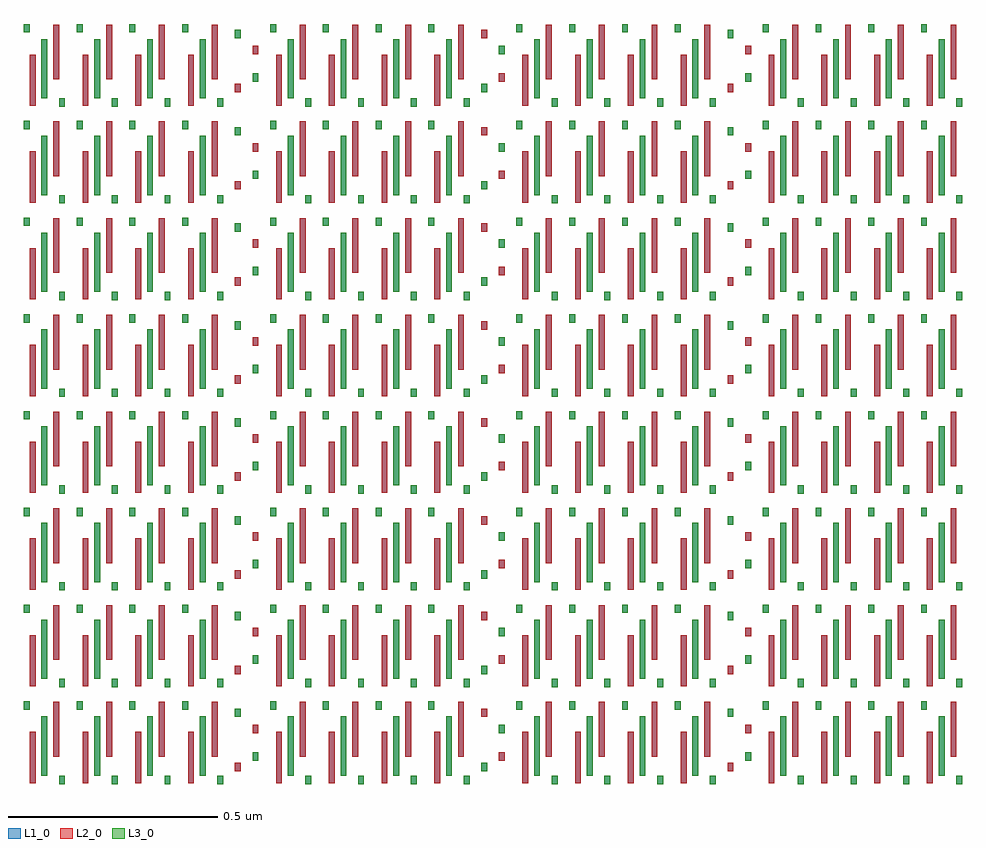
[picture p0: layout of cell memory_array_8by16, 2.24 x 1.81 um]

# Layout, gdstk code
import gdstk
lib = gdstk.Library(unit=1e-6, precision=5e-10)
def R(c, l, rs):  # rectangles x0, y0, x1, y1
    for r in rs: c.add(gdstk.rectangle(r[:2], r[2:], *l))
def A(c, l, x, y, w, h, nx, ny, dx, dy):  # array of equal rectangles
    R(c, l, [(x+i*dx, y+j*dy, x+i*dx+w, y+j*dy+h) for i in range(nx) for j in range(ny)])
L1_0 = (1, 0)
L2_0 = (2, 0)
L3_0 = (3, 0)

sram_6t = lib.new_cell('sram_6t')
R(sram_6t, L1_0, [(0.1055,0.0325,0.1195,0.0525), (0.0355,0.0345,0.0495,0.157), (0.0635,0.0525,0.0775,0.194), (0.092,0.098,0.106,0.2285), (0.0215,0.21,0.0355,0.23)])
R(sram_6t, L2_0, [(0.0355,0.0345,0.0495,0.157), (0.092,0.098,0.106,0.2285)])
R(sram_6t, L3_0, [(0.1055,0.0325,0.1195,0.0525), (0.0635,0.0525,0.0775,0.194), (0.0215,0.21,0.0355,0.23)])

memory_array_8by16 = lib.new_cell('memory_array_8by16')
A(memory_array_8by16, L1_0, 0.5535, 0.068, 0.014, 0.02, 3, 2, 0.588, 0.129)
A(memory_array_8by16, L1_0, 0.5955, 0.093, 0.014, 0.02, 3, 2, 0.588, 0.0655)
A(memory_array_8by16, L1_0, 0.5535, 0.299, 0.014, 0.02, 3, 2, 0.588, 0.129)
A(memory_array_8by16, L1_0, 0.5955, 0.324, 0.014, 0.02, 3, 2, 0.588, 0.0655)
A(memory_array_8by16, L1_0, 0.5535, 0.527, 0.014, 0.02, 3, 2, 0.588, 0.129)
A(memory_array_8by16, L1_0, 0.5955, 0.552, 0.014, 0.02, 3, 2, 0.588, 0.0655)
A(memory_array_8by16, L1_0, 0.5535, 0.7615, 0.014, 0.02, 3, 2, 0.588, 0.129)
A(memory_array_8by16, L1_0, 0.5955, 0.7865, 0.014, 0.02, 3, 2, 0.588, 0.0655)
A(memory_array_8by16, L1_0, 0.5535, 0.993, 0.014, 0.02, 3, 2, 0.588, 0.129)
A(memory_array_8by16, L1_0, 0.5955, 1.018, 0.014, 0.02, 3, 2, 0.588, 0.0655)
A(memory_array_8by16, L1_0, 0.5535, 1.2265, 0.014, 0.02, 3, 2, 0.588, 0.129)
A(memory_array_8by16, L1_0, 0.5955, 1.2515, 0.014, 0.02, 3, 2, 0.588, 0.0655)
A(memory_array_8by16, L1_0, 0.5535, 1.4565, 0.014, 0.02, 3, 2, 0.588, 0.129)
A(memory_array_8by16, L1_0, 0.5955, 1.4815, 0.014, 0.02, 3, 2, 0.588, 0.0655)
A(memory_array_8by16, L1_0, 0.5535, 1.689, 0.014, 0.02, 3, 2, 0.588, 0.129)
A(memory_array_8by16, L1_0, 0.5955, 1.714, 0.014, 0.02, 3, 2, 0.588, 0.0655)
R(memory_array_8by16, L2_0, [(0.5535,0.068,0.5675,0.088), (1.7295,0.068,1.7435,0.088), (1.1835,0.093,1.1975,0.113), (0.5955,0.1585,0.6095,0.1785), (1.7715,0.1585,1.7855,0.1785), (1.1415,0.197,1.1555,0.217), (0.5535,0.299,0.5675,0.319), (1.7295,0.299,1.7435,0.319), (1.1835,0.324,1.1975,0.344), (0.5955,0.3895,0.6095,0.4095), (1.7715,0.3895,1.7855,0.4095), (1.1415,0.428,1.1555,0.448), (0.5535,0.527,0.5675,0.547), (1.7295,0.527,1.7435,0.547), (1.1835,0.552,1.1975,0.572), (0.5955,0.6175,0.6095,0.6375), (1.7715,0.6175,1.7855,0.6375), (1.1415,0.656,1.1555,0.676), (0.5535,0.7615,0.5675,0.7815), (1.7295,0.7615,1.7435,0.7815), (1.1835,0.7865,1.1975,0.8065), (0.5955,0.852,0.6095,0.872), (1.7715,0.852,1.7855,0.872), (1.1415,0.8905,1.1555,0.9105), (0.5535,0.993,0.5675,1.013), (1.7295,0.993,1.7435,1.013), (1.1835,1.018,1.1975,1.038), (0.5955,1.0835,0.6095,1.1035), (1.7715,1.0835,1.7855,1.1035), (1.1415,1.122,1.1555,1.142), (0.5535,1.2265,0.5675,1.2465), (1.7295,1.2265,1.7435,1.2465), (1.1835,1.2515,1.1975,1.2715), (0.5955,1.317,0.6095,1.337), (1.7715,1.317,1.7855,1.337), (1.1415,1.3555,1.1555,1.3755), (0.5535,1.4565,0.5675,1.4765), (1.7295,1.4565,1.7435,1.4765), (1.1835,1.4815,1.1975,1.5015), (0.5955,1.547,0.6095,1.567), (1.7715,1.547,1.7855,1.567), (1.1415,1.5855,1.1555,1.6055), (0.5535,1.689,0.5675,1.709), (1.7295,1.689,1.7435,1.709), (1.1835,1.714,1.1975,1.734), (0.5955,1.7795,0.6095,1.7995), (1.7715,1.7795,1.7855,1.7995), (1.1415,1.818,1.1555,1.838)])
R(memory_array_8by16, L3_0, [(1.1415,0.068,1.1555,0.088), (0.5955,0.093,0.6095,0.113), (1.7715,0.093,1.7855,0.113), (1.1835,0.1585,1.1975,0.1785), (0.5535,0.197,0.5675,0.217), (1.7295,0.197,1.7435,0.217), (1.1415,0.299,1.1555,0.319), (0.5955,0.324,0.6095,0.344), (1.7715,0.324,1.7855,0.344), (1.1835,0.3895,1.1975,0.4095), (0.5535,0.428,0.5675,0.448), (1.7295,0.428,1.7435,0.448), (1.1415,0.527,1.1555,0.547), (0.5955,0.552,0.6095,0.572), (1.7715,0.552,1.7855,0.572), (1.1835,0.6175,1.1975,0.6375), (0.5535,0.656,0.5675,0.676), (1.7295,0.656,1.7435,0.676), (1.1415,0.7615,1.1555,0.7815), (0.5955,0.7865,0.6095,0.8065), (1.7715,0.7865,1.7855,0.8065), (1.1835,0.852,1.1975,0.872), (0.5535,0.8905,0.5675,0.9105), (1.7295,0.8905,1.7435,0.9105), (1.1415,0.993,1.1555,1.013), (0.5955,1.018,0.6095,1.038), (1.7715,1.018,1.7855,1.038), (1.1835,1.0835,1.1975,1.1035), (0.5535,1.122,0.5675,1.142), (1.7295,1.122,1.7435,1.142), (1.1415,1.2265,1.1555,1.2465), (0.5955,1.2515,0.6095,1.2715), (1.7715,1.2515,1.7855,1.2715), (1.1835,1.317,1.1975,1.337), (0.5535,1.3555,0.5675,1.3755), (1.7295,1.3555,1.7435,1.3755), (1.1415,1.4565,1.1555,1.4765), (0.5955,1.4815,0.6095,1.5015), (1.7715,1.4815,1.7855,1.5015), (1.1835,1.547,1.1975,1.567), (0.5535,1.5855,0.5675,1.6055), (1.7295,1.5855,1.7435,1.6055), (1.1415,1.689,1.1555,1.709), (0.5955,1.714,0.6095,1.734), (1.7715,1.714,1.7855,1.734), (1.1835,1.7795,1.1975,1.7995), (0.5535,1.818,0.5675,1.838), (1.7295,1.818,1.7435,1.838)])
memory_array_8by16.add(gdstk.Reference(sram_6t, (0.868,0.2355)))
memory_array_8by16.add(gdstk.Reference(sram_6t, (0.994,0.2355)))
memory_array_8by16.add(gdstk.Reference(sram_6t, (0.742,0.2355)))
memory_array_8by16.add(gdstk.Reference(sram_6t, (0.616,0.2355)))
memory_array_8by16.add(gdstk.Reference(sram_6t, (1.792,0.2355)))
memory_array_8by16.add(gdstk.Reference(sram_6t, (1.918,0.2355)))
memory_array_8by16.add(gdstk.Reference(sram_6t, (2.17,0.2355)))
memory_array_8by16.add(gdstk.Reference(sram_6t, (2.044,0.2355)))
memory_array_8by16.add(gdstk.Reference(sram_6t, (0.406,0.6975)))
memory_array_8by16.add(gdstk.Reference(sram_6t, (0.28,0.6975)))
memory_array_8by16.add(gdstk.Reference(sram_6t, (1.456,0.2355)))
memory_array_8by16.add(gdstk.Reference(sram_6t, (1.582,0.2355)))
memory_array_8by16.add(gdstk.Reference(sram_6t, (1.33,0.2355)))
memory_array_8by16.add(gdstk.Reference(sram_6t, (1.204,0.2355)))
memory_array_8by16.add(gdstk.Reference(sram_6t, (1.204,0.0045)))
memory_array_8by16.add(gdstk.Reference(sram_6t, (1.33,0.0045)))
memory_array_8by16.add(gdstk.Reference(sram_6t, (1.582,0.0045)))
memory_array_8by16.add(gdstk.Reference(sram_6t, (1.456,0.0045)))
memory_array_8by16.add(gdstk.Reference(sram_6t, (0.154,0.6975)))
memory_array_8by16.add(gdstk.Reference(sram_6t, (0.028,0.6975)))
memory_array_8by16.add(gdstk.Reference(sram_6t, (2.044,0.0045)))
memory_array_8by16.add(gdstk.Reference(sram_6t, (2.17,0.0045)))
memory_array_8by16.add(gdstk.Reference(sram_6t, (1.918,0.0045)))
memory_array_8by16.add(gdstk.Reference(sram_6t, (1.792,0.0045)))
memory_array_8by16.add(gdstk.Reference(sram_6t, (0.616,0.0045)))
memory_array_8by16.add(gdstk.Reference(sram_6t, (0.742,0.0045)))
memory_array_8by16.add(gdstk.Reference(sram_6t, (0.994,0.0045)))
memory_array_8by16.add(gdstk.Reference(sram_6t, (0.868,0.0045)))
memory_array_8by16.add(gdstk.Reference(sram_6t, (0.28,0.0045)))
memory_array_8by16.add(gdstk.Reference(sram_6t, (0.406,0.0045)))
memory_array_8by16.add(gdstk.Reference(sram_6t, (0.154,0.0045)))
memory_array_8by16.add(gdstk.Reference(sram_6t, (0.028,0.0045)))
memory_array_8by16.add(gdstk.Reference(sram_6t, (0.028,0.4665)))
memory_array_8by16.add(gdstk.Reference(sram_6t, (0.154,0.4665)))
memory_array_8by16.add(gdstk.Reference(sram_6t, (0.406,0.4665)))
memory_array_8by16.add(gdstk.Reference(sram_6t, (0.28,0.4665)))
memory_array_8by16.add(gdstk.Reference(sram_6t, (0.868,0.4665)))
memory_array_8by16.add(gdstk.Reference(sram_6t, (0.994,0.4665)))
memory_array_8by16.add(gdstk.Reference(sram_6t, (0.742,0.4665)))
memory_array_8by16.add(gdstk.Reference(sram_6t, (0.616,0.4665)))
memory_array_8by16.add(gdstk.Reference(sram_6t, (1.792,0.4665)))
memory_array_8by16.add(gdstk.Reference(sram_6t, (1.918,0.4665)))
memory_array_8by16.add(gdstk.Reference(sram_6t, (2.17,0.4665)))
memory_array_8by16.add(gdstk.Reference(sram_6t, (2.044,0.4665)))
memory_array_8by16.add(gdstk.Reference(sram_6t, (1.456,0.4665)))
memory_array_8by16.add(gdstk.Reference(sram_6t, (1.582,0.4665)))
memory_array_8by16.add(gdstk.Reference(sram_6t, (1.33,0.4665)))
memory_array_8by16.add(gdstk.Reference(sram_6t, (1.204,0.4665)))
memory_array_8by16.add(gdstk.Reference(sram_6t, (1.204,0.6975)))
memory_array_8by16.add(gdstk.Reference(sram_6t, (1.33,0.6975)))
memory_array_8by16.add(gdstk.Reference(sram_6t, (1.582,0.6975)))
memory_array_8by16.add(gdstk.Reference(sram_6t, (1.456,0.6975)))
memory_array_8by16.add(gdstk.Reference(sram_6t, (2.044,0.6975)))
memory_array_8by16.add(gdstk.Reference(sram_6t, (2.17,0.6975)))
memory_array_8by16.add(gdstk.Reference(sram_6t, (1.918,0.6975)))
memory_array_8by16.add(gdstk.Reference(sram_6t, (1.792,0.6975)))
memory_array_8by16.add(gdstk.Reference(sram_6t, (0.616,0.6975)))
memory_array_8by16.add(gdstk.Reference(sram_6t, (0.742,0.6975)))
memory_array_8by16.add(gdstk.Reference(sram_6t, (0.994,0.6975)))
memory_array_8by16.add(gdstk.Reference(sram_6t, (0.868,0.6975)))
memory_array_8by16.add(gdstk.Reference(sram_6t, (0.028,0.2355)))
memory_array_8by16.add(gdstk.Reference(sram_6t, (0.154,0.2355)))
memory_array_8by16.add(gdstk.Reference(sram_6t, (0.406,0.2355)))
memory_array_8by16.add(gdstk.Reference(sram_6t, (0.28,0.2355)))
memory_array_8by16.add(gdstk.Reference(sram_6t, (0.28,1.1595)))
memory_array_8by16.add(gdstk.Reference(sram_6t, (0.406,1.1595)))
memory_array_8by16.add(gdstk.Reference(sram_6t, (0.154,1.1595)))
memory_array_8by16.add(gdstk.Reference(sram_6t, (0.028,1.1595)))
memory_array_8by16.add(gdstk.Reference(sram_6t, (0.868,1.6215)))
memory_array_8by16.add(gdstk.Reference(sram_6t, (0.994,1.6215)))
memory_array_8by16.add(gdstk.Reference(sram_6t, (0.742,1.6215)))
memory_array_8by16.add(gdstk.Reference(sram_6t, (0.616,1.6215)))
memory_array_8by16.add(gdstk.Reference(sram_6t, (1.792,1.6215)))
memory_array_8by16.add(gdstk.Reference(sram_6t, (1.918,1.6215)))
memory_array_8by16.add(gdstk.Reference(sram_6t, (2.17,1.6215)))
memory_array_8by16.add(gdstk.Reference(sram_6t, (2.044,1.6215)))
memory_array_8by16.add(gdstk.Reference(sram_6t, (1.456,1.6215)))
memory_array_8by16.add(gdstk.Reference(sram_6t, (1.582,1.6215)))
memory_array_8by16.add(gdstk.Reference(sram_6t, (1.33,1.6215)))
memory_array_8by16.add(gdstk.Reference(sram_6t, (1.204,1.6215)))
memory_array_8by16.add(gdstk.Reference(sram_6t, (1.204,1.3905)))
memory_array_8by16.add(gdstk.Reference(sram_6t, (1.33,1.3905)))
memory_array_8by16.add(gdstk.Reference(sram_6t, (1.582,1.3905)))
memory_array_8by16.add(gdstk.Reference(sram_6t, (1.456,1.3905)))
memory_array_8by16.add(gdstk.Reference(sram_6t, (2.044,1.3905)))
memory_array_8by16.add(gdstk.Reference(sram_6t, (2.17,1.3905)))
memory_array_8by16.add(gdstk.Reference(sram_6t, (1.918,1.3905)))
memory_array_8by16.add(gdstk.Reference(sram_6t, (1.792,1.3905)))
memory_array_8by16.add(gdstk.Reference(sram_6t, (0.616,1.3905)))
memory_array_8by16.add(gdstk.Reference(sram_6t, (0.742,1.3905)))
memory_array_8by16.add(gdstk.Reference(sram_6t, (0.994,1.3905)))
memory_array_8by16.add(gdstk.Reference(sram_6t, (0.868,1.3905)))
memory_array_8by16.add(gdstk.Reference(sram_6t, (0.28,1.3905)))
memory_array_8by16.add(gdstk.Reference(sram_6t, (0.406,1.3905)))
memory_array_8by16.add(gdstk.Reference(sram_6t, (0.154,1.3905)))
memory_array_8by16.add(gdstk.Reference(sram_6t, (0.028,1.3905)))
memory_array_8by16.add(gdstk.Reference(sram_6t, (0.028,0.9285)))
memory_array_8by16.add(gdstk.Reference(sram_6t, (0.154,0.9285)))
memory_array_8by16.add(gdstk.Reference(sram_6t, (0.406,0.9285)))
memory_array_8by16.add(gdstk.Reference(sram_6t, (0.28,0.9285)))
memory_array_8by16.add(gdstk.Reference(sram_6t, (0.868,0.9285)))
memory_array_8by16.add(gdstk.Reference(sram_6t, (0.994,0.9285)))
memory_array_8by16.add(gdstk.Reference(sram_6t, (0.742,0.9285)))
memory_array_8by16.add(gdstk.Reference(sram_6t, (0.616,0.9285)))
memory_array_8by16.add(gdstk.Reference(sram_6t, (1.792,0.9285)))
memory_array_8by16.add(gdstk.Reference(sram_6t, (1.918,0.9285)))
memory_array_8by16.add(gdstk.Reference(sram_6t, (2.17,0.9285)))
memory_array_8by16.add(gdstk.Reference(sram_6t, (2.044,0.9285)))
memory_array_8by16.add(gdstk.Reference(sram_6t, (0.028,1.6215)))
memory_array_8by16.add(gdstk.Reference(sram_6t, (0.154,1.6215)))
memory_array_8by16.add(gdstk.Reference(sram_6t, (1.456,0.9285)))
memory_array_8by16.add(gdstk.Reference(sram_6t, (1.582,0.9285)))
memory_array_8by16.add(gdstk.Reference(sram_6t, (1.33,0.9285)))
memory_array_8by16.add(gdstk.Reference(sram_6t, (1.204,0.9285)))
memory_array_8by16.add(gdstk.Reference(sram_6t, (1.204,1.1595)))
memory_array_8by16.add(gdstk.Reference(sram_6t, (1.33,1.1595)))
memory_array_8by16.add(gdstk.Reference(sram_6t, (1.582,1.1595)))
memory_array_8by16.add(gdstk.Reference(sram_6t, (1.456,1.1595)))
memory_array_8by16.add(gdstk.Reference(sram_6t, (0.28,1.6215)))
memory_array_8by16.add(gdstk.Reference(sram_6t, (0.406,1.6215)))
memory_array_8by16.add(gdstk.Reference(sram_6t, (2.044,1.1595)))
memory_array_8by16.add(gdstk.Reference(sram_6t, (2.17,1.1595)))
memory_array_8by16.add(gdstk.Reference(sram_6t, (1.918,1.1595)))
memory_array_8by16.add(gdstk.Reference(sram_6t, (1.792,1.1595)))
memory_array_8by16.add(gdstk.Reference(sram_6t, (0.616,1.1595)))
memory_array_8by16.add(gdstk.Reference(sram_6t, (0.742,1.1595)))
memory_array_8by16.add(gdstk.Reference(sram_6t, (0.994,1.1595)))
memory_array_8by16.add(gdstk.Reference(sram_6t, (0.868,1.1595)))

lib.write_gds('memory_array_8by16.gds')
